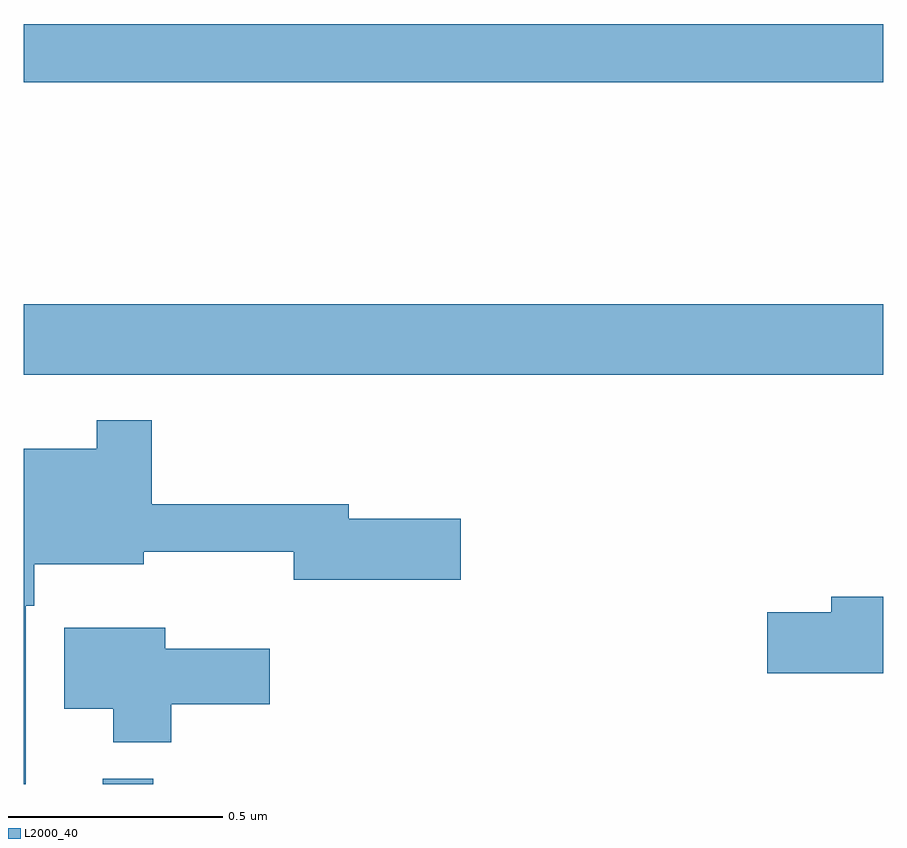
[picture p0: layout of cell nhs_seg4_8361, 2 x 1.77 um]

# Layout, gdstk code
import gdstk
lib = gdstk.Library(unit=1e-6, precision=1e-09)
def R(c, l, rs):  # rectangles x0, y0, x1, y1
    for r in rs: c.add(gdstk.rectangle(r[:2], r[2:], *l))
def P(c, l, *ps):  # polygons
    for p in ps: c.add(gdstk.Polygon(p, *l))
L2000_40 = (2000, 40)

nhs_seg4_8361 = lib.new_cell('nhs_seg4_8361')
R(nhs_seg4_8361, L2000_40, [(214.184,763.9,214.301,763.912), (214,764.852,216,765.016), (214,765.532,216,765.668)])
P(nhs_seg4_8361, L2000_40, [(214.005,764.315),(214.025,764.315),(214.025,764.411),(214.279,764.411),(214.279,764.44),(214.628,764.44),(214.628,764.375),(215.017,764.375),(215.017,764.517),(214.756,764.517),(214.756,764.551),(214.298,764.551),(214.298,764.746),(214.17,764.746),(214.17,764.68),(214,764.68),(214,763.9),(214.005,763.9)],
  [(216,764.336),(215.879,764.336),(215.879,764.3),(215.73,764.3),(215.73,764.158),(216,764.158)],
  [(214.343,764.086),(214.573,764.086),(214.573,764.215),(214.33,764.215),(214.33,764.263),(214.094,764.263),(214.094,764.075),(214.208,764.075),(214.208,763.997),(214.343,763.997)])

lib.write_gds('nhs_seg4_8361.gds')
